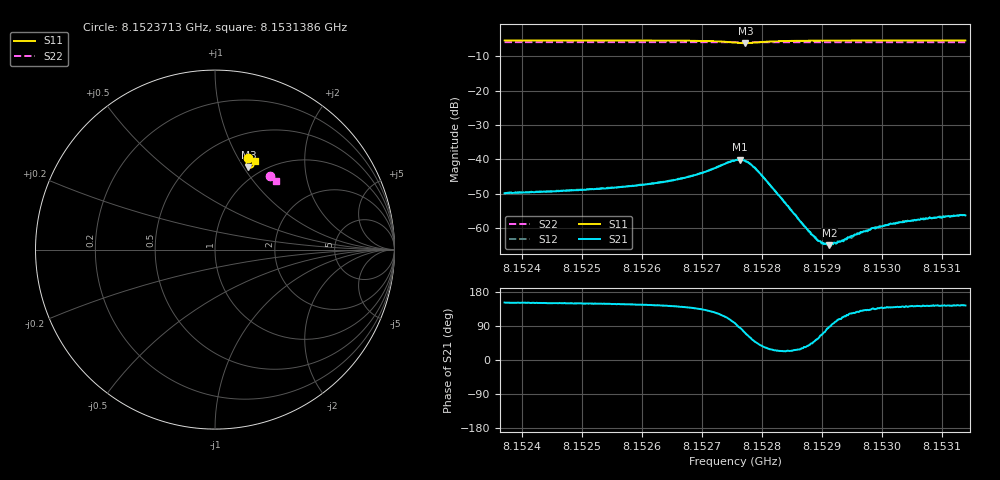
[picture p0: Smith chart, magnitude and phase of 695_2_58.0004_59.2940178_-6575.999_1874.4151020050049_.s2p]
#  HZ  S  RI  R  50.00
! Rohde & Schwarz Vector Network Analyzer
! Rohde-Schwarz,ZNB20-2Port,1311601062101988,3.16
! Created: UTC 3/21/2024, 1:21:26 AM
! freq[Hz]  re:S11  im:S11  re:S21  im:S21  re:S12  im:S12  re:S22  im:S22
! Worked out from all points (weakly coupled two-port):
!   401 points, 8.1523713 GHz to 8.1531386 GHz, reference 50 ohm
!   highest |S21| = -40.05 dB at 8.1527626 GHz (marker M1); lowest = -65.0 dB at 8.1529123 GHz (marker M2)
!   lowest |S11| = -6.1 dB at 8.1527722 GHz (marker M3), VSWR 2.96, Z = 43.3 + j52.5 ohm
!   |S11| at or under -10 dB: nowhere
!   |S22| runs from -5.9 to -5.8 dB; largest |S21 - S12| = 0.00032
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8.1523713e9  0.1815 0.5091  -0.00281 0.00152  -0.00282 0.0016  0.3045 0.4108
8.15249983e9  0.1918 0.5053  -0.00307 0.00184  -0.00308 0.0019  0.3111 0.4056
8.15258424e9  0.1994 0.5018  -0.00343 0.00226  -0.00342 0.00233  0.3154 0.4021
8.15262836e9  0.2042 0.499  -0.00371 0.00268  -0.00369 0.00275  0.3175 0.4004
8.15268591e9  0.2119 0.4919  -0.00425 0.00398  -0.0042 0.0041  0.3204 0.3977
8.15270892e9  0.2153 0.4857  -0.00438 0.00512  -0.00434 0.00522  0.3215 0.3965
8.15275496e9  0.2067 0.4592  -0.00119 0.00959  -0.000957 0.00969  0.3229 0.3939
8.15276264e9  0.1983 0.4561  0.000743 0.00991  0.000881 0.00987  0.3229 0.3937
8.15277223e9  0.1864 0.458  0.00302 0.00887  0.00322 0.00884  0.323 0.3936
8.15278182e9  0.1775 0.4658  0.00455 0.00704  0.00467 0.00697  0.3232 0.3936
8.15279333e9  0.1743 0.4772  0.00491 0.00456  0.00497 0.00447  0.3239 0.3936
8.15287006e9  0.1951 0.4992  0.000881 0.000603  0.000896 0.000572  0.3284 0.391
8.15288349e9  0.1975 0.4994  0.000577 0.000549  0.000562 0.000562  0.3291 0.3903
8.15289692e9  0.1999 0.4992  0.000279 0.000576  0.000279 0.000556  0.3298 0.3898
8.15291226e9  0.202 0.4991  1.5e-05 0.000559  1.29e-06 0.000562  0.3305 0.3892
8.15293145e9  0.2047 0.4987  -0.000197 0.000607  -0.000245 0.000641  0.3315 0.3884
8.1529679e9  0.2088 0.4978  -0.00057 0.000663  -0.000569 0.000668  0.3333 0.3868
8.15298132e9  0.2101 0.4976  -0.000672 0.000716  -0.000658 0.000703  0.334 0.3862
8.15301202e9  0.213 0.4967  -0.000849 0.000739  -0.000855 0.000749  0.3355 0.3849
8.15306573e9  0.2175 0.4952  -0.00106 0.000834  -0.00107 0.000835  0.338 0.3826
8.15310601e9  0.2208 0.4939  -0.00118 0.000887  -0.0012 0.000897  0.34 0.3808
8.15313862e9  0.2232 0.4931  -0.00123 0.000898  -0.00126 0.000936  0.3415 0.3794
